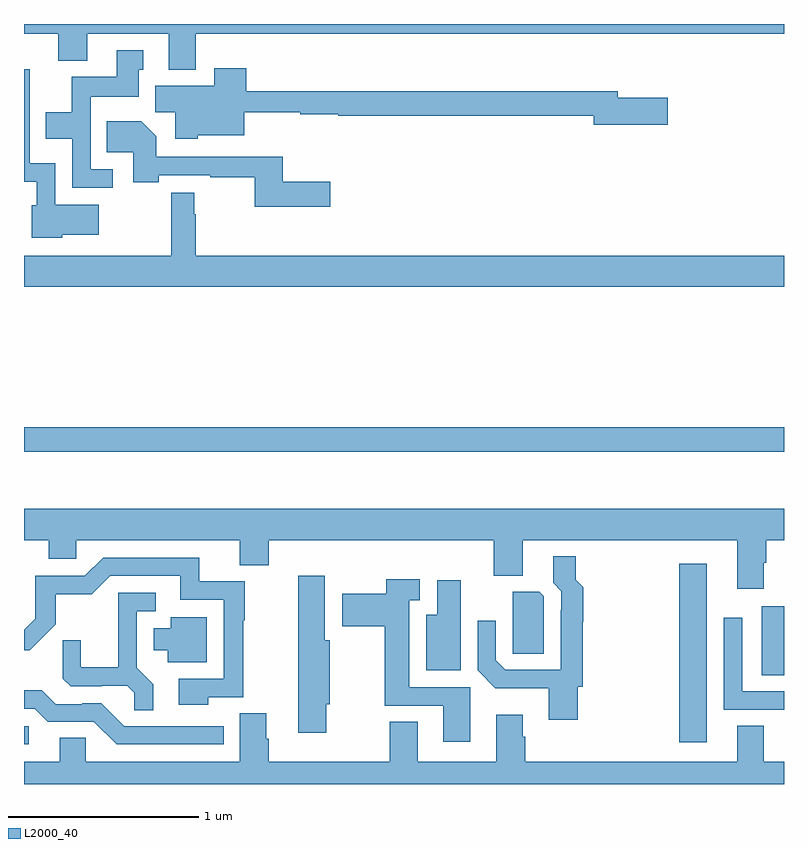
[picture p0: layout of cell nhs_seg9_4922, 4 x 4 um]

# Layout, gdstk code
import gdstk
lib = gdstk.Library(unit=1e-6, precision=1e-09)
def R(c, l, rs):  # rectangles x0, y0, x1, y1
    for r in rs: c.add(gdstk.rectangle(r[:2], r[2:], *l))
def P(c, l, *ps):  # polygons
    for p in ps: c.add(gdstk.Polygon(p, *l))
L2000_40 = (2000, 40)

nhs_seg9_4922 = lib.new_cell('nhs_seg9_4922')
R(nhs_seg9_4922, L2000_40, [(397,1164.708,397.024,1164.804), (400.448,1164.72,400.594,1165.66), (400.883,1165.072,401,1165.435), (397,1166.25,401,1166.378)])
P(nhs_seg9_4922, L2000_40, [(397.903,1168.448),(401,1168.448),(401,1168.5),(397,1168.5),(397,1168.448),(397.181,1168.448),(397.181,1168.307),(397.333,1168.307),(397.333,1168.448),(397.763,1168.448),(397.763,1168.259),(397.903,1168.259)],
  [(397.468,1167.735),(397.35,1167.735),(397.35,1168.118),(397.603,1168.118),(397.603,1168.26),(397.627,1168.26),(397.627,1168.363),(397.487,1168.363),(397.487,1168.222),(397.252,1168.222),(397.252,1168.036),(397.115,1168.036),(397.115,1167.896),(397.254,1167.896),(397.254,1167.639),(397.468,1167.639)],
  [(397.914,1167.914),(398.158,1167.914),(398.158,1168.036),(398.454,1168.036),(398.454,1168.026),(398.654,1168.026),(398.654,1168.018),(399.998,1168.018),(399.998,1167.971),(400.387,1167.971),(400.387,1168.113),(400.126,1168.113),(400.126,1168.147),(398.171,1168.147),(398.171,1168.267),(398,1168.267),(398,1168.174),(397.691,1168.174),(397.691,1168.036),(397.796,1168.036),(397.796,1167.896),(397.914,1167.896)],
  [(397.2,1167.392),(397.393,1167.392),(397.393,1167.55),(397.164,1167.55),(397.164,1167.766),(397.03,1167.766),(397.03,1168.261),(397,1168.261),(397,1167.669),(397.068,1167.669),(397.068,1167.546),(397.04,1167.546),(397.04,1167.374),(397.2,1167.374)],
  [(398.611,1167.669),(398.363,1167.669),(398.363,1167.801),(397.696,1167.801),(397.696,1167.91),(397.618,1167.988),(397.435,1167.988),(397.435,1167.824),(397.574,1167.824),(397.574,1167.667),(397.709,1167.667),(397.709,1167.705),(397.981,1167.705),(397.981,1167.693),(398.215,1167.693),(398.215,1167.539),(398.611,1167.539)],
  [(401,1167.28),(397.904,1167.28),(397.904,1167.5),(397.897,1167.5),(397.897,1167.613),(397.776,1167.613),(397.776,1167.28),(397,1167.28),(397,1167.116),(401,1167.116)],
  [(400.894,1165.664),(400.907,1165.664),(400.907,1165.784),(401,1165.784),(401,1165.948),(397,1165.948),(397,1165.784),(397.129,1165.784),(397.129,1165.686),(397.275,1165.686),(397.275,1165.784),(398.135,1165.784),(398.135,1165.651),(398.288,1165.651),(398.288,1165.784),(399.473,1165.784),(399.473,1165.597),(399.625,1165.597),(399.625,1165.784),(400.754,1165.784),(400.754,1165.527),(400.894,1165.527)],
  [(399.914,1165.011),(399.941,1165.011),(399.941,1165.354),(399.944,1165.354),(399.944,1165.536),(399.905,1165.575),(399.905,1165.699),(399.785,1165.699),(399.785,1165.558),(399.828,1165.515),(399.828,1165.415),(399.825,1165.415),(399.825,1165.101),(399.534,1165.101),(399.483,1165.152),(399.483,1165.36),(399.387,1165.36),(399.387,1165.098),(399.481,1165.004),(399.761,1165.004),(399.761,1164.837),(399.914,1164.837)],
  [(397.971,1164.957),(398.153,1164.957),(398.153,1165.363),(398.161,1165.363),(398.161,1165.566),(397.922,1165.566),(397.922,1165.692),(397.416,1165.692),(397.32,1165.596),(397.059,1165.596),(397.059,1165.371),(397,1165.312),(397,1165.205),(397.03,1165.205),(397.168,1165.342),(397.168,1165.498),(397.357,1165.498),(397.455,1165.596),(397.823,1165.596),(397.823,1165.47),(398.052,1165.47),(398.052,1165.053),(397.815,1165.053),(397.815,1164.917),(397.971,1164.917)],
  [(398.592,1164.921),(398.61,1164.921),(398.61,1165.257),(398.584,1165.257),(398.584,1165.597),(398.443,1165.597),(398.443,1165.257),(398.444,1165.257),(398.444,1164.771),(398.592,1164.771)],
  [(399.349,1165.008),(399.028,1165.008),(399.028,1165.467),(399.082,1165.467),(399.082,1165.577),(398.906,1165.577),(398.906,1165.501),(398.676,1165.501),(398.676,1165.331),(398.899,1165.331),(398.899,1164.912),(399.206,1164.912),(399.206,1164.723),(399.349,1164.723)],
  [(399.298,1165.573),(399.176,1165.573),(399.176,1165.39),(399.116,1165.39),(399.116,1165.1),(399.298,1165.1)],
  [(399.735,1165.488),(399.711,1165.512),(399.572,1165.512),(399.572,1165.297),(399.573,1165.297),(399.573,1165.186),(399.735,1165.186)],
  [(397.679,1165.025),(397.593,1165.111),(397.593,1165.41),(397.693,1165.41),(397.693,1165.506),(397.496,1165.506),(397.496,1165.114),(397.298,1165.114),(397.298,1165.257),(397.204,1165.257),(397.204,1165.055),(397.245,1165.014),(397.41,1165.014),(397.41,1165.017),(397.544,1165.017),(397.581,1164.98),(397.581,1164.889),(397.679,1164.889)],
  [(397.963,1165.378),(397.772,1165.378),(397.772,1165.321),(397.682,1165.321),(397.682,1165.205),(397.757,1165.205),(397.757,1165.142),(397.963,1165.142)],
  [(401,1164.987),(400.779,1164.987),(400.779,1165.375),(400.683,1165.375),(400.683,1164.891),(401,1164.891)],
  [(398.05,1164.804),(397.527,1164.804),(397.407,1164.924),(397.306,1164.924),(397.306,1164.921),(397.167,1164.921),(397.094,1164.994),(397,1164.994),(397,1164.897),(397.056,1164.897),(397.125,1164.828),(397.368,1164.828),(397.488,1164.708),(398.05,1164.708)],
  [(401,1164.616),(400.894,1164.616),(400.894,1164.806),(400.754,1164.806),(400.754,1164.616),(399.638,1164.616),(399.638,1164.749),(399.625,1164.749),(399.625,1164.865),(399.485,1164.865),(399.485,1164.616),(399.073,1164.616),(399.073,1164.827),(398.926,1164.827),(398.926,1164.616),(398.288,1164.616),(398.288,1164.738),(398.275,1164.738),(398.275,1164.872),(398.135,1164.872),(398.135,1164.616),(397.326,1164.616),(397.326,1164.743),(397.187,1164.743),(397.187,1164.616),(397,1164.616),(397,1164.5),(401,1164.5)])

lib.write_gds('nhs_seg9_4922.gds')
